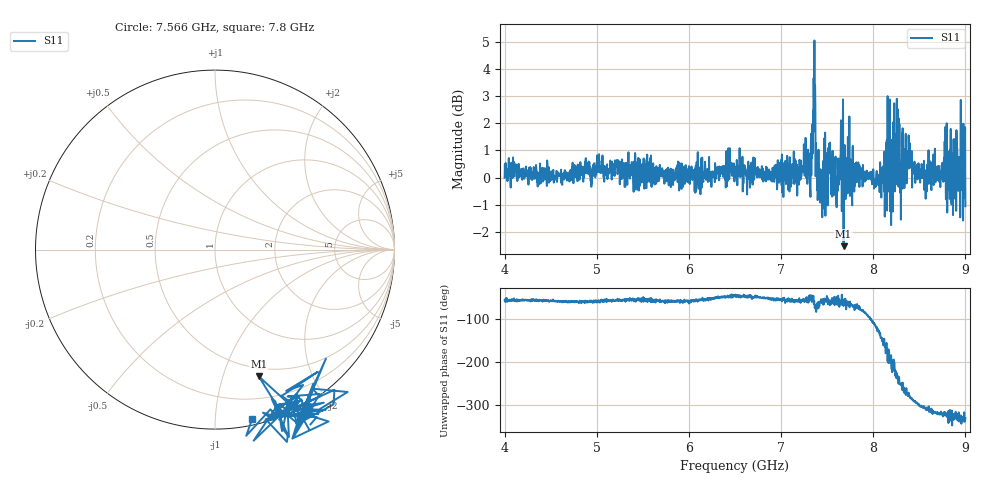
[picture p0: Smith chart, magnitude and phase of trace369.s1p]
! Created with skrf 1.8.0 (http://scikit-rf.org).
# Hz S RI R 50.0
!freq ReS11 ImS11
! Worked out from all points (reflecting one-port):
!   1601 points, 4 GHz to 9 GHz, reference 50 ohm
!   lowest |S11| = -2.5 dB at 7.678 GHz (marker M1), VSWR 6.91, Z = 20.6 - j66 ohm
!   phase of S11 starts at -57 deg and turns -273 deg over the sweep
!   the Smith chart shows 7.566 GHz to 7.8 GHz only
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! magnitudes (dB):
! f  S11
! 4 GHz  0.0
! 4.625 GHz  -0.3
! 5.25 GHz  -0.3
! 5.875 GHz  0.5
! 6.5 GHz  0.3
! 7.125 GHz  0.4
! 7.297 GHz  0.2
! 7.322 GHz  1.0
! 7.347 GHz  2.5
! 7.369 GHz  3.4
! 7.4 GHz  -0.5
! 7.422 GHz  -0.8
! 7.509 GHz  -0.6
! 7.591 GHz  0.8
! 7.647 GHz  0.9
! 7.678 GHz  -2.5
! 7.75 GHz  0.7
! 8.066 GHz  0.0
! 8.156 GHz  3.0
! 8.209 GHz  0.2
! 8.262 GHz  -0.3
! 8.316 GHz  0.4
! 8.375 GHz  0.9
! 8.556 GHz  -0.5
! 8.772 GHz  -0.1
! 8.875 GHz  0.4
! 8.972 GHz  0.5
! 9 GHz  -1.1
